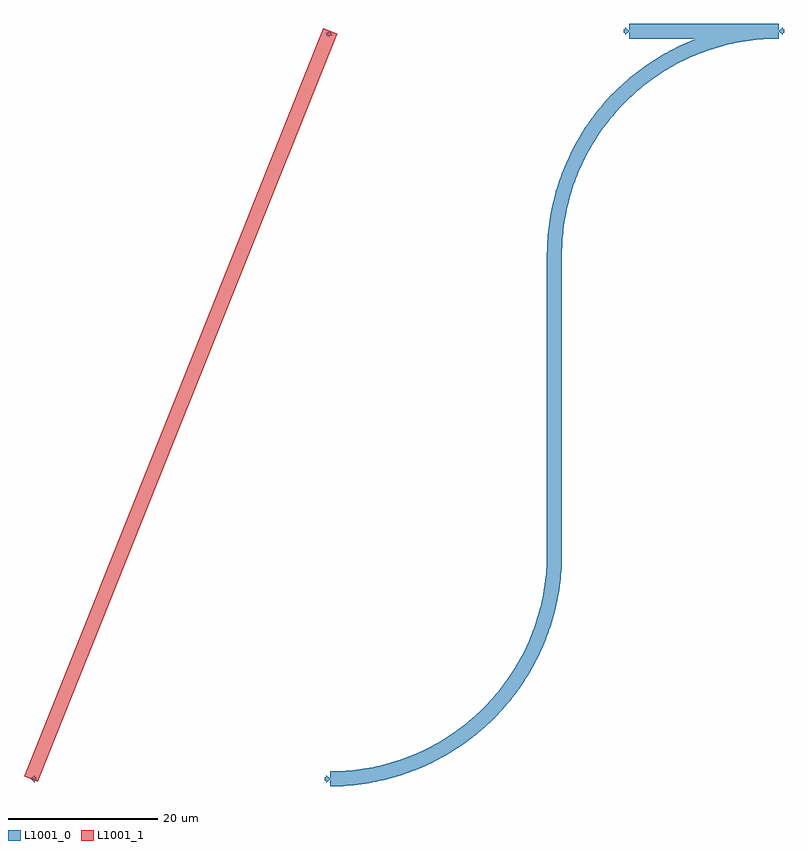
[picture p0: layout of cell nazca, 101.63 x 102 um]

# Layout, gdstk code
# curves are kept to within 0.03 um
import gdstk
lib = gdstk.Library(unit=1e-6, precision=1e-09)
def R(c, l, rs):  # rectangles x0, y0, x1, y1
    for r in rs: c.add(gdstk.rectangle(r[:2], r[2:], *l))
def P(c, l, *ps):  # polygons
    for p in ps: c.add(gdstk.Polygon(p, *l))
L1001_0 = (1001, 0)
L1001_1 = (1001, 1)

nazca = lib.new_cell('nazca')
R(nazca, L1001_0, [(69,30,71,70), (80,99,100,101)])
P(nazca, L1001_0, [(40,0),(40.5,0.5),(40.5,0.25),(40.7,0.25),(40.7,-0.25),(40.5,-0.25),(40.5,-0.5)],
  [(40,0),(39.5,-0.5),(39.5,-0.25),(39.3,-0.25),(39.3,0.25),(39.5,0.25),(39.5,0.5)],
  [(40,1),(40,-1),(42.234,-0.92),(44.211,-0.713),(46.17,-0.38),(48.582,0.211),(50.473,0.822),(51.863,1.359),(53.674,2.178),(54.995,2.868),(56.703,3.884),(57.939,4.717),(59.522,5.919),(61.025,7.219),(62.096,8.256),(63.115,9.343),(64.391,10.866),(65.283,12.061),(66.116,13.297),(67.132,15.005),(67.822,16.326),(68.447,17.679),(69.178,19.527),(69.647,20.942),(70.049,22.377),(70.38,23.83),(70.642,25.298),(70.832,26.776),(70.952,28.262),(71,30),(69,30),(68.955,28.374),(68.843,26.984),(68.665,25.601),(68.42,24.228),(68.11,22.869),(67.735,21.526),(67.135,19.767),(66.611,18.474),(66.027,17.208),(65.154,15.567),(64.431,14.375),(63.652,13.218),(62.528,11.737),(61.624,10.676),(60.67,9.659),(59.668,8.689),(58.621,7.768),(57.531,6.899),(56.4,6.083),(55.232,5.322),(54.028,4.618),(52.792,3.973),(50.667,3.033),(49.359,2.551),(48.028,2.133),(46.68,1.779),(45.315,1.491),(43.939,1.268),(42.553,1.112)],
  [(40,0),(40.5,0.5),(40.5,0.25),(40.7,0.25),(40.7,-0.25),(40.5,-0.25),(40.5,-0.5)],
  [(70,30),(70.5,29.5),(70.25,29.5),(70.25,29.3),(69.75,29.3),(69.75,29.5),(69.5,29.5)],
  [(70,30),(69.5,30.5),(69.75,30.5),(69.75,30.7),(70.25,30.7),(70.25,30.5),(70.5,30.5)],
  [(70,70),(70.5,69.5),(70.25,69.5),(70.25,69.3),(69.75,69.3),(69.75,69.5),(69.5,69.5)],
  [(71,70),(69,70),(69.08,72.234),(69.287,74.211),(69.62,76.17),(70.211,78.582),(70.822,80.473),(71.359,81.863),(72.178,83.674),(72.868,84.995),(73.884,86.703),(74.717,87.939),(75.919,89.522),(77.219,91.025),(78.256,92.096),(79.343,93.115),(80.866,94.391),(82.061,95.283),(83.297,96.116),(85.005,97.132),(86.326,97.822),(87.679,98.447),(89.527,99.178),(90.942,99.647),(92.377,100.049),(93.83,100.38),(95.298,100.642),(96.776,100.832),(98.262,100.952),(100,101),(100,99),(98.374,98.955),(96.984,98.843),(95.601,98.665),(94.228,98.42),(92.869,98.11),(91.526,97.735),(89.767,97.135),(88.474,96.611),(87.208,96.027),(85.567,95.154),(84.375,94.431),(83.218,93.652),(81.737,92.528),(80.676,91.624),(79.659,90.67),(78.689,89.668),(77.768,88.621),(76.899,87.531),(76.083,86.4),(75.322,85.232),(74.618,84.028),(73.973,82.792),(73.033,80.667),(72.551,79.359),(72.133,78.028),(71.779,76.68),(71.491,75.315),(71.268,73.939),(71.112,72.553)],
  [(70,70),(69.5,70.5),(69.75,70.5),(69.75,70.7),(70.25,70.7),(70.25,70.5),(70.5,70.5)],
  [(100,100),(99.5,99.5),(99.5,99.75),(99.3,99.75),(99.3,100.25),(99.5,100.25),(99.5,100.5)],
  [(100,100),(100.5,100.5),(100.5,100.25),(100.7,100.25),(100.7,99.75),(100.5,99.75),(100.5,99.5)],
  [(80,100),(79.5,99.5),(79.5,99.75),(79.3,99.75),(79.3,100.25),(79.5,100.25),(79.5,100.5)],
  [(0,0),(0.5,0.5),(0.5,0.25),(0.7,0.25),(0.7,-0.25),(0.5,-0.25),(0.5,-0.5)],
  [(40,100),(40.279,99.35),(40.046,99.443),(39.972,99.257),(39.508,99.443),(39.582,99.629),(39.35,99.721)])
P(nazca, L1001_1, [(-0.928,0.371),(39.072,100.371),(40.928,99.629),(0.928,-0.371)])

lib.write_gds('nazca.gds')
